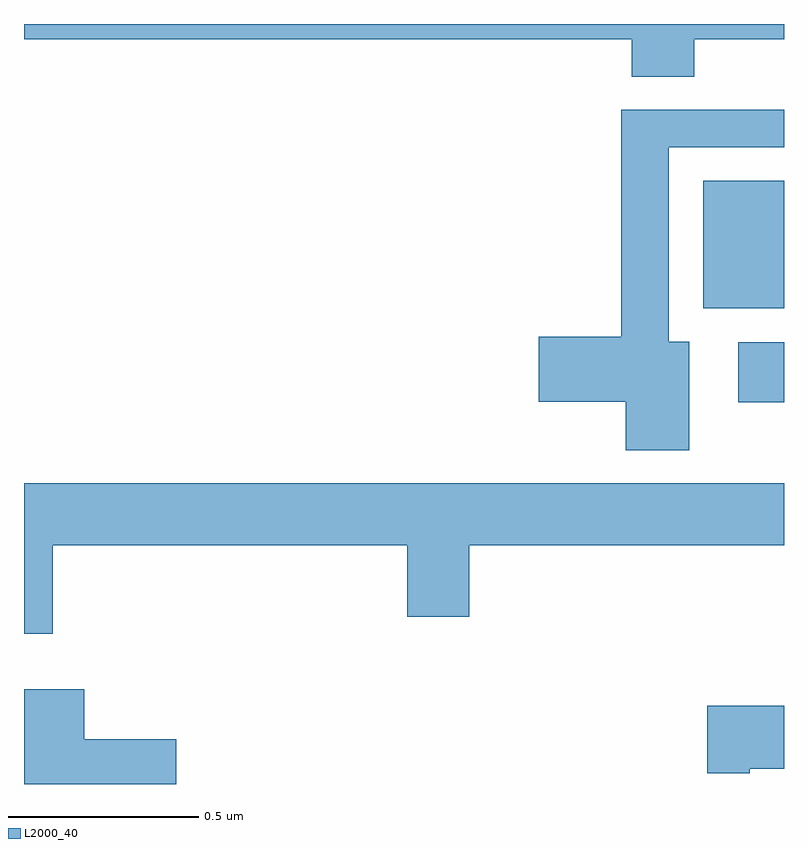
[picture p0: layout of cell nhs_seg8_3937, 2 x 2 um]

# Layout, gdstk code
import gdstk
lib = gdstk.Library(unit=1e-6, precision=1e-09)
def R(c, l, rs):  # rectangles x0, y0, x1, y1
    for r in rs: c.add(gdstk.rectangle(r[:2], r[2:], *l))
def P(c, l, *ps):  # polygons
    for p in ps: c.add(gdstk.Polygon(p, *l))
L2000_40 = (2000, 40)

nhs_seg8_3937 = lib.new_cell('nhs_seg8_3937')
R(nhs_seg8_3937, L2000_40, [(165.879,1088.904,166,1089.063), (165.788,1089.152,166,1089.487)])
P(nhs_seg8_3937, L2000_40, [(165.764,1089.86),(166,1089.86),(166,1089.9),(164,1089.9),(164,1089.86),(165.599,1089.86),(165.599,1089.761),(165.764,1089.761)],
  [(165.751,1089.064),(165.697,1089.064),(165.697,1089.576),(166,1089.576),(166,1089.674),(165.572,1089.674),(165.572,1089.077),(165.354,1089.077),(165.354,1088.906),(165.584,1088.906),(165.584,1088.778),(165.751,1088.778)],
  [(164.075,1088.528),(165.008,1088.528),(165.008,1088.34),(165.172,1088.34),(165.172,1088.528),(166,1088.528),(166,1088.692),(164,1088.692),(164,1088.295),(164.075,1088.295)],
  [(164.401,1088.018),(164.158,1088.018),(164.158,1088.149),(164,1088.149),(164,1087.9),(164.401,1087.9)],
  [(165.91,1087.94),(166,1087.94),(166,1088.106),(165.798,1088.106),(165.798,1087.928),(165.91,1087.928)])

lib.write_gds('nhs_seg8_3937.gds')
